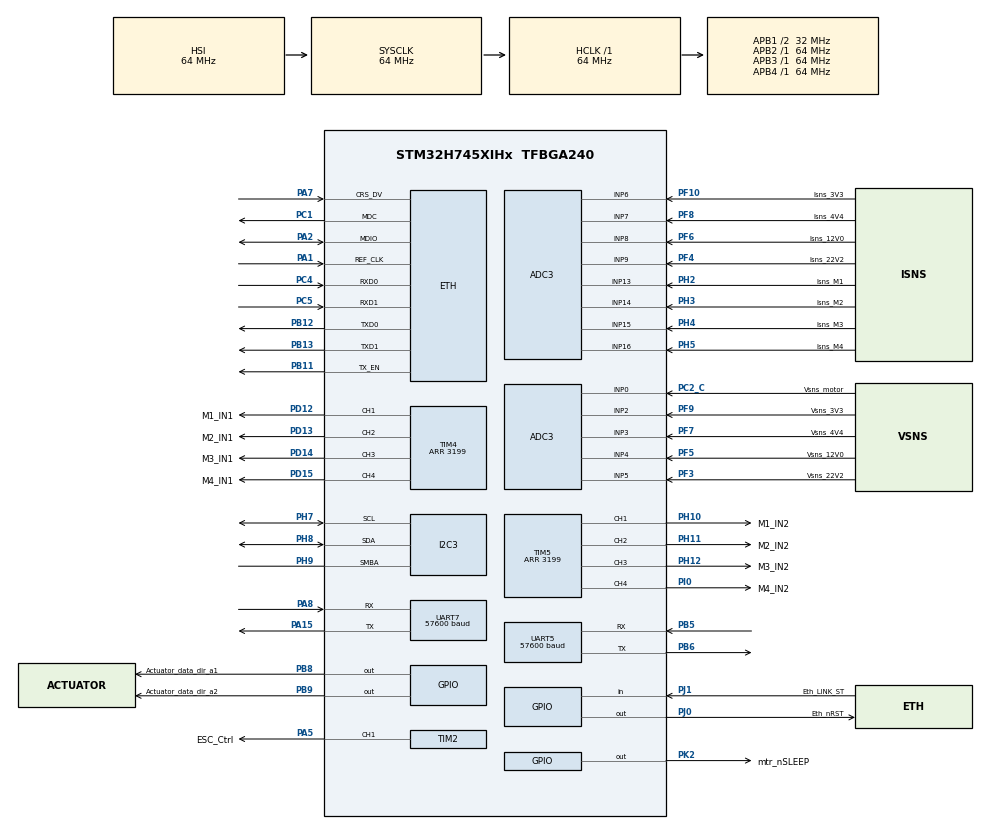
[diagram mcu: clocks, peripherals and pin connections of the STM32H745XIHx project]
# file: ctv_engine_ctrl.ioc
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ADC3.Channel-2\#ChannelRegularConversion=ADC_CHANNEL_0
ADC3.EOCSelection=ADC_EOC_SINGLE_CONV
ADC3.NbrOfConversionFlag=1
ADC3.OffsetNumber-2\#ChannelRegularConversion=ADC_OFFSET_NONE
ADC3.OffsetSignedSaturation-2\#ChannelRegularConversion=DISABLE
ADC3.Overrun=ADC_OVR_DATA_OVERWRITTEN
ADC3.Rank-2\#ChannelRegularConversion=1
ADC3.SamplingTime-2\#ChannelRegularConversion=ADC_SAMPLETIME_64CYCLES_5
CORTEX_M4.AccessPermission-Cortex_Memory_Protection_Unit_Region0_Settings=MPU_REGION_PRIV_RO
CORTEX_M4.BaseAddress-Cortex_Memory_Protection_Unit_Region0_Settings=0x08100000
CORTEX_M4.Enable-Cortex_Memory_Protection_Unit_Region0_Settings=MPU_REGION_ENABLE
CORTEX_M4.MPU_Control=MPU_PRIVILEGED_DEFAULT
CORTEX_M4.Size-Cortex_Memory_Protection_Unit_Region0_Settings=MPU_REGION_SIZE_512KB
CORTEX_M4.TypeExtField-Cortex_Memory_Protection_Unit_Region0_Settings=MPU_TEX_LEVEL1
CORTEX_M7.AccessPermission_S-Cortex_Memory_Protection_Unit_Region1_Settings_S=MPU_REGION_FULL_ACCESS
CORTEX_M7.BaseAddress_S-Cortex_Memory_Protection_Unit_Region1_Settings_S=0x30000000
CORTEX_M7.DisableExec_S-Cortex_Memory_Protection_Unit_Region1_Settings_S=MPU_INSTRUCTION_ACCESS_DISABLE
CORTEX_M7.Enable_S-Cortex_Memory_Protection_Unit_Region1_Settings_S=MPU_REGION_ENABLE
CORTEX_M7.IsCacheable_S-Cortex_Memory_Protection_Unit_Region1_Settings_S=MPU_ACCESS_NOT_CACHEABLE
CORTEX_M7.IsShareable_S-Cortex_Memory_Protection_Unit_Region1_Settings_S=MPU_ACCESS_SHAREABLE
CORTEX_M7.Size_S-Cortex_Memory_Protection_Unit_Region1_Settings_S=MPU_REGION_SIZE_128KB
CORTEX_M7.TypeExtField_S-Cortex_Memory_Protection_Unit_Region1_Settings_S=MPU_TEX_LEVEL1
CORTEX_M7.default_mode_Activation=1
CortexM4.IPs=CORTEX_M4\:I,FATFS_M4\:I,FREERTOS_M4\:I,IWDG2\:I,OPENAMP_M4\:I,PDM2PCM_M4\:I,PWR,RCC,RESMGR_UTILITY,SYS_M4\:I,USB_DEVICE_M4\:I,USB_HOST_M4\:I,VREFBUF,WWDG2\:I,GPIO,DMA,BDMA,MDMA,NVIC2\:I
CortexM7.IPs=CORTEX_M7\:I,FATFS_M7\:I,FREERTOS_M7\:I,IWDG1\:I,OPENAMP_M7\:I,PDM2PCM_M7\:I,PWR\:I,RCC\:I,RESMGR_UTILITY\:I,SYS\:I,USB_DEVICE_M7\:I,USB_HOST_M7\:I,VREFBUF\:I,WWDG1\:I,GPIO\:I,DMA\:I,BDMA\:I,MDMA\:I,NVIC1\:I,ETH\:I,DEBUG\:I,CRC\:I,I2C3\:I,UART7\:I,UART5\:I,ADC3\:I,MEMORYMAP\:I,LWIP\:I,TIM4\:I,TIM5\:I,TIM2\:I
CortexM7.Pins=PB9,PB8,PK2,PJ0,PJ1
ETH.MediaInterface=HAL_ETH_RMII_MODE
I2C3.SMBusPeripheralMode=SMBUS_PERIPHERAL_MODE_SMBUS_HOST
I2C3.Timeout=0x00008186
I2C3.Timing=0x00707CBB
LWIP.BSP.number=1
LWIP.IP_ADDRESS=192.168.001.138
LWIP.LWIP_DHCP=0
LWIP.LWIP_RAM_HEAP_POINTER=0x30010000
LWIP.LWIP_TCP=0
LWIP.NETMASK_ADDRESS=255.255.255.000
LWIP.Version=v2.2.1_Cube
LWIP0.BSP.STBoard=false
LWIP0.BSP.api=BSP_COMPONENT_DRIVER
LWIP0.BSP.component=USER_PHY
LWIP0.BSP.instance=USER_PHY
LWIP0.BSP.name=Driver_PHY
LWIP0.BSP.semaphore=S_USER_PHY
LWIP0.BSP.solution=USER_PHY
Mcu.Family=STM32H7
Mcu.Name=STM32H745XIHx
Mcu.Package=TFBGA240
NVIC1.PriorityGroup=NVIC_PRIORITYGROUP_4
NVIC2.PriorityGroup=NVIC_PRIORITYGROUP_4
PA1.Mode=RMII
PA1.PinAttribute=CortexM7
PA1.Signal=ETH_REF_CLK
PA13\ (JTMS/SWDIO).GPIO_Label=swdio
PA13\ (JTMS/SWDIO).Mode=Trace_Asynchronous_SW
PA13\ (JTMS/SWDIO).PinAttribute=CortexM7
PA13\ (JTMS/SWDIO).Signal=DEBUG_JTMS-SWDIO
PA14\ (JTCK/SWCLK).GPIO_Label=swclk
PA14\ (JTCK/SWCLK).Mode=Trace_Asynchronous_SW
PA14\ (JTCK/SWCLK).PinAttribute=CortexM7
PA14\ (JTCK/SWCLK).Signal=DEBUG_JTCK-SWCLK
PA15\ (JTDI).Mode=Asynchronous
PA15\ (JTDI).PinAttribute=CortexM7
PA15\ (JTDI).Signal=UART7_TX
PA2.Mode=RMII
PA2.PinAttribute=CortexM7
PA2.Signal=ETH_MDIO
PA5.GPIO_Label=ESC_Ctrl
PA5.PinAttribute=CortexM7
PA5.Signal=S_TIM2_CH1_ETR
PA7.Mode=RMII
PA7.PinAttribute=CortexM7
PA7.Signal=ETH_CRS_DV
PA8.Mode=Asynchronous
PA8.PinAttribute=CortexM7
PA8.Signal=UART7_RX
PB11.Mode=RMII
PB11.PinAttribute=CortexM7
PB11.Signal=ETH_TX_EN
PB12.Mode=RMII
PB12.PinAttribute=CortexM7
PB12.Signal=ETH_TXD0
PB13.Mode=RMII
PB13.PinAttribute=CortexM7
PB13.Signal=ETH_TXD1
PB3\ (JTDO/TRACESWO).GPIO_Label=swo
PB3\ (JTDO/TRACESWO).Mode=Trace_Asynchronous_SW
PB3\ (JTDO/TRACESWO).PinAttribute=CortexM7
PB3\ (JTDO/TRACESWO).Signal=DEBUG_JTDO-SWO
PB5.Mode=Asynchronous
PB5.PinAttribute=CortexM7
PB5.Signal=UART5_RX
PB6.Mode=Asynchronous
PB6.PinAttribute=CortexM7
PB6.Signal=UART5_TX
PB8.GPIO_Label=Actuator_data_dir_a1
PB8.PinAttribute=CortexM7
PB8.Signal=GPIO_Output
PB9.GPIO_Label=Actuator_data_dir_a2
PB9.PinAttribute=CortexM7
PB9.Signal=GPIO_Output
PC1.Mode=RMII
PC1.PinAttribute=CortexM7
PC1.Signal=ETH_MDC
PC2_C.GPIO_Label=Vsns_motor
PC2_C.Mode=IN0-Single-Ended
PC2_C.PinAttribute=CortexM7
PC2_C.Signal=ADC3_INP0
PC4.Mode=RMII
PC4.PinAttribute=CortexM7
PC4.Signal=ETH_RXD0
PC5.Mode=RMII
PC5.PinAttribute=CortexM7
PC5.Signal=ETH_RXD1
PD12.GPIO_Label=M1_IN1
PD12.PinAttribute=CortexM7
PD12.Signal=S_TIM4_CH1
PD13.GPIO_Label=M2_IN1
PD13.PinAttribute=CortexM7
PD13.Signal=S_TIM4_CH2
PD14.GPIO_Label=M3_IN1
PD14.PinAttribute=CortexM7
PD14.Signal=S_TIM4_CH3
PD15.GPIO_Label=M4_IN1
PD15.PinAttribute=CortexM7
PD15.Signal=S_TIM4_CH4
PF10.GPIO_Label=Isns_3V3
PF10.Mode=IN6-Single-Ended
PF10.PinAttribute=CortexM7
PF10.Signal=ADC3_INP6
PF3.GPIO_Label=Vsns_22V2
PF3.Mode=IN5-Single-Ended
PF3.PinAttribute=CortexM7
PF3.Signal=ADC3_INP5
PF4.GPIO_Label=Isns_22V2
PF4.Mode=IN9-Single-Ended
PF4.PinAttribute=CortexM7
PF4.Signal=ADC3_INP9
PF5.GPIO_Label=Vsns_12V0
PF5.Mode=IN4-Single-Ended
PF5.PinAttribute=CortexM7
PF5.Signal=ADC3_INP4
PF6.GPIO_Label=Isns_12V0
PF6.Mode=IN8-Single-Ended
PF6.PinAttribute=CortexM7
PF6.Signal=ADC3_INP8
PF7.GPIO_Label=Vsns_4V4
PF7.Mode=IN3-Single-Ended
PF7.PinAttribute=CortexM7
PF7.Signal=ADC3_INP3
PF8.GPIO_Label=Isns_4V4
PF8.Mode=IN7-Single-Ended
PF8.PinAttribute=CortexM7
PF8.Signal=ADC3_INP7
PF9.GPIO_Label=Vsns_3V3
PF9.Mode=IN2-Single-Ended
PF9.PinAttribute=CortexM7
PF9.Signal=ADC3_INP2
PH10.GPIO_Label=M1_IN2
PH10.PinAttribute=CortexM7
PH10.Signal=S_TIM5_CH1
PH11.GPIO_Label=M2_IN2
PH11.PinAttribute=CortexM7
PH11.Signal=S_TIM5_CH2
PH12.GPIO_Label=M3_IN2
PH12.PinAttribute=CortexM7
PH12.Signal=S_TIM5_CH3
PH2.GPIO_Label=Isns_M1
PH2.Mode=IN13-Single-Ended
PH2.PinAttribute=CortexM7
PH2.Signal=ADC3_INP13
PH3.GPIO_Label=Isns_M2
PH3.Mode=IN14-Single-Ended
PH3.PinAttribute=CortexM7
PH3.Signal=ADC3_INP14
PH4.GPIO_Label=Isns_M3
PH4.Mode=IN15-Single-Ended
PH4.PinAttribute=CortexM7
PH4.Signal=ADC3_INP15
PH5.GPIO_Label=Isns_M4
PH5.Mode=IN16-Single-Ended
PH5.PinAttribute=CortexM7
PH5.Signal=ADC3_INP16
PH7.Mode=SMBus-Alert-mode
PH7.PinAttribute=CortexM7
PH7.Signal=I2C3_SCL
PH8.Mode=SMBus-Alert-mode
PH8.PinAttribute=CortexM7
PH8.Signal=I2C3_SDA
PH9.Mode=SMBus-Alert-mode
PH9.PinAttribute=CortexM7
PH9.Signal=I2C3_SMBA
PI0.GPIO_Label=M4_IN2
PI0.PinAttribute=CortexM7
PI0.Signal=S_TIM5_CH4
PJ0.GPIO_Label=Eth_nRST
PJ0.PinAttribute=CortexM7
PJ0.Signal=GPIO_Output
PJ1.GPIO_Label=Eth_LINK_ST
PJ1.PinAttribute=CortexM7
PJ1.Signal=GPIO_Input
PK2.GPIO_Label=mtr_nSLEEP
PK2.PinAttribute=CortexM7
PK2.Signal=GPIO_Output
ProjectManager.HeapSize=M4-0x200,M7-0x200
ProjectManager.StackSize=M4-0x400,M7-0x400
ProjectManager.TargetToolchain=STM32CubeIDE
RCC.ADCFreq_Value=80000000
RCC.APB1Freq_Value=32000000
RCC.APB2Freq_Value=64000000
RCC.APB3Freq_Value=64000000
RCC.APB4Freq_Value=64000000
RCC.CortexFreq_Value=64000000
RCC.D2PPRE1=RCC_APB1_DIV2
RCC.DIVM2=4
RCC.DIVN2=10
RCC.HCLKFreq_Value=64000000
RCC.PLL2FRACN=0
RCC.SYSCLKFreq_VALUE=64000000
RCC.USBFreq_Value=129000000
SH.S_TIM2_CH1_ETR.0=TIM2_CH1,PWM Generation1 CH1
SH.S_TIM4_CH1.0=TIM4_CH1,PWM Generation1 CH1
SH.S_TIM4_CH2.0=TIM4_CH2,PWM Generation2 CH2
SH.S_TIM4_CH3.0=TIM4_CH3,PWM Generation3 CH3
SH.S_TIM4_CH4.0=TIM4_CH4,PWM Generation4 CH4
SH.S_TIM5_CH1.0=TIM5_CH1,PWM Generation1 CH1
SH.S_TIM5_CH2.0=TIM5_CH2,PWM Generation2 CH2
SH.S_TIM5_CH3.0=TIM5_CH3,PWM Generation3 CH3
SH.S_TIM5_CH4.0=TIM5_CH4,PWM Generation4 CH4
SYS.userName=SYS_M7
TIM2.Channel-PWM\ Generation1\ CH1=TIM_CHANNEL_1
TIM4.AutoReloadPreload=TIM_AUTORELOAD_PRELOAD_ENABLE
TIM4.Channel-PWM\ Generation1\ CH1=TIM_CHANNEL_1
TIM4.Channel-PWM\ Generation2\ CH2=TIM_CHANNEL_2
TIM4.Channel-PWM\ Generation3\ CH3=TIM_CHANNEL_3
TIM4.Channel-PWM\ Generation4\ CH4=TIM_CHANNEL_4
TIM4.Period=3199
TIM5.AutoReloadPreload=TIM_AUTORELOAD_PRELOAD_ENABLE
TIM5.Channel-PWM\ Generation1\ CH1=TIM_CHANNEL_1
TIM5.Channel-PWM\ Generation2\ CH2=TIM_CHANNEL_2
TIM5.Channel-PWM\ Generation3\ CH3=TIM_CHANNEL_3
TIM5.Channel-PWM\ Generation4\ CH4=TIM_CHANNEL_4
TIM5.Period=3199
UART5.BaudRate=57600
UART7.BaudRate=57600
VP_CRC_VS_CRC.Mode=CRC_Activate
VP_IWDG1_VS_IWDG.Mode=IWDG_Activate
VP_LWIP_VS_Enabled.Mode=Enabled
VP_MEMORYMAP_VS_MEMORYMAP.Mode=CurAppReg
VP_SYS_M4_VS_Systick.Mode=SysTick
VP_TIM2_VS_ClockSourceINT.Mode=Internal
VP_TIM4_VS_ClockSourceINT.Mode=Internal
VP_TIM5_VS_ClockSourceINT.Mode=Internal
board=custom

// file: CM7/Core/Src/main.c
/* USER CODE BEGIN Header */
/**
  ******************************************************************************
  * @file           : main.c
  * @brief          : Main program body
  ******************************************************************************
  * @attention
  *
  * Copyright (c) 2026 STMicroelectronics.
  * All rights reserved.
  *
  * This software is licensed under terms that can be found in the LICENSE file
  * in the root directory of this software component.
  * If no LICENSE file comes with this software, it is provided AS-IS.
  *
  ******************************************************************************
  */
/* USER CODE END Header */
#include "main.h"
#include "lwip.h"

/* USER CODE BEGIN Includes */
#include "motors.h"
#include "pa12.h"
#include "sensors.h"
/* USER CODE END Includes */

/* USER CODE BEGIN PD */

/* DUAL_CORE_BOOT_SYNC_SEQUENCE: Define for dual core boot synchronization    */
/*                             demonstration code based on hardware semaphore */
/* This define is present in both CM7/CM4 projects                            */
/* To comment when developping/debugging on a single core                     */
//#define DUAL_CORE_BOOT_SYNC_SEQUENCE

#if defined(DUAL_CORE_BOOT_SYNC_SEQUENCE)
#ifndef HSEM_ID_0
#define HSEM_ID_0 (0U) /* HW semaphore 0*/
#endif
#endif /* DUAL_CORE_BOOT_SYNC_SEQUENCE */

/* USER CODE END PD */

ADC_HandleTypeDef hadc3;

CRC_HandleTypeDef hcrc;

SMBUS_HandleTypeDef hsmbus3;

IWDG_HandleTypeDef hiwdg1;

TIM_HandleTypeDef htim2;
TIM_HandleTypeDef htim4;
TIM_HandleTypeDef htim5;

UART_HandleTypeDef huart5;
UART_HandleTypeDef huart7;

/* USER CODE BEGIN PV */
static PA12_Device actuator1;
static PA12_Device actuator2;
static uint16_t a1_position;
static PA12_Result a1_status;

/* Ethernet handle defined in ethernetif.c */
extern ETH_HandleTypeDef heth;

/* PHY debug variables */
volatile uint32_t phy_id1 = 0;
volatile uint32_t phy_id2 = 0;
volatile uint32_t phy_id = 0;

volatile uint32_t phy_basic_status = 0;
volatile uint32_t phy_status1 = 0;

volatile uint32_t phy_link_gpio = 0;

volatile HAL_StatusTypeDef phy_id1_result = HAL_ERROR;
volatile HAL_StatusTypeDef phy_id2_result = HAL_ERROR;
volatile HAL_StatusTypeDef phy_basic_result = HAL_ERROR;
volatile HAL_StatusTypeDef phy_status_result = HAL_ERROR;

volatile uint32_t phy_test_count = 0;

/* USER CODE END PV */

void SystemClock_Config(void);
static void MPU_Config(void);
static void MX_GPIO_Init(void);
static void MX_CRC_Init(void);
static void MX_ADC3_Init(void);
static void MX_I2C3_SMBUS_Init(void);
static void MX_IWDG1_Init(void);
static void MX_UART5_Init(void);
static void MX_UART7_Init(void);
static void MX_TIM2_Init(void);
static void MX_TIM4_Init(void);
static void MX_TIM5_Init(void);

/* USER CODE BEGIN 0 */

/**
 * @brief Ethernet MSP Initialization
 * @note  STM32H745 Ethernet MAC connected to ADIN1200 via RMII
 */
void HAL_ETH_MspInit(ETH_HandleTypeDef *heth)
{
    GPIO_InitTypeDef GPIO_InitStruct = {0};

    if (heth->Instance == ETH)
    {
        /* 1. Enable Ethernet peripheral clocks */
        __HAL_RCC_ETH1MAC_CLK_ENABLE();
        __HAL_RCC_ETH1TX_CLK_ENABLE();
        __HAL_RCC_ETH1RX_CLK_ENABLE();

        /* 2. Enable GPIO peripheral clocks */
        __HAL_RCC_GPIOA_CLK_ENABLE();
        __HAL_RCC_GPIOB_CLK_ENABLE();
        __HAL_RCC_GPIOC_CLK_ENABLE();

        /* 3. Configure RMII GPIO alternate functions */
        GPIO_InitStruct.Mode = GPIO_MODE_AF_PP;
        GPIO_InitStruct.Pull = GPIO_NOPULL;
        GPIO_InitStruct.Speed = GPIO_SPEED_FREQ_VERY_HIGH;
        GPIO_InitStruct.Alternate = GPIO_AF11_ETH;

        /* GPIOA:
         * PA1 = ETH_REF_CLK
         * PA2 = ETH_MDIO
         * PA7 = ETH_CRS_DV
         */
        GPIO_InitStruct.Pin =
            GPIO_PIN_1 | GPIO_PIN_2 | GPIO_PIN_7;
        HAL_GPIO_Init(GPIOA, &GPIO_InitStruct);

        /* GPIOB:
         * PB11 = ETH_TX_EN
         * PB12 = ETH_TXD0
         * PB13 = ETH_TXD1
         */
        GPIO_InitStruct.Pin =
            GPIO_PIN_11 | GPIO_PIN_12 | GPIO_PIN_13;
        HAL_GPIO_Init(GPIOB, &GPIO_InitStruct);

        /* GPIOC:
         * PC1 = ETH_MDC
         * PC4 = ETH_RXD0
         * PC5 = ETH_RXD1
         */
        GPIO_InitStruct.Pin =
            GPIO_PIN_1 | GPIO_PIN_4 | GPIO_PIN_5;
        HAL_GPIO_Init(GPIOC, &GPIO_InitStruct);
    }
}

static void PHY_HardwareTest(void)
{
    uint32_t value = 0;

    /* Read PHY Identifier 1: Register 0x02 */
    phy_id1_result = HAL_ETH_ReadPHYRegister(
        &heth, 0, 0x02, &value
    );
    if (phy_id1_result == HAL_OK)
        phy_id1 = value & 0xFFFFU;

    /* Read PHY Identifier 2: Register 0x03 */
    phy_id2_result = HAL_ETH_ReadPHYRegister(
        &heth, 0, 0x03, &value
    );
    if (phy_id2_result == HAL_OK)
        phy_id2 = value & 0xFFFFU;

    /* Combine PHY identifiers */
    phy_id = (phy_id1 << 16) | phy_id2;

    /* Basic Mode Status Register: 0x01 */
    phy_basic_result = HAL_ETH_ReadPHYRegister(
        &heth, 0, 0x01, &value
    );
    if (phy_basic_result == HAL_OK)
        phy_basic_status = value & 0xFFFFU;

    /* ADIN1200 PHY_STATUS_1: Register 0x1A */
    phy_status_result = HAL_ETH_ReadPHYRegister(
        &heth, 0, 0x1A, &value
    );
    if (phy_status_result == HAL_OK)
        phy_status1 = value & 0xFFFFU;

    /* Read your board's physical LINK_ST pin */
    phy_link_gpio = HAL_GPIO_ReadPin(
        Eth_LINK_ST_GPIO_Port,
        Eth_LINK_ST_Pin
    );

    phy_test_count++;
}

static void WD_Delay(uint32_t ms)
{
  while (ms)
  {
    uint32_t s = (ms > 100) ? 100 : ms;
    HAL_IWDG_Refresh(&hiwdg1);
    HAL_Delay(s);
    ms -= s;
  }
  HAL_IWDG_Refresh(&hiwdg1);
}

/* USER CODE END 0 */

int main(void)
{

/* USER CODE BEGIN Boot_Mode_Sequence_0 */
#if defined(DUAL_CORE_BOOT_SYNC_SEQUENCE)
  int32_t timeout;
#endif /* DUAL_CORE_BOOT_SYNC_SEQUENCE */
/* USER CODE END Boot_Mode_Sequence_0 */

  /* MPU Configuration--------------------------------------------------------*/
  MPU_Config();

/* USER CODE BEGIN Boot_Mode_Sequence_1 */
#if defined(DUAL_CORE_BOOT_SYNC_SEQUENCE)
  /* Wait until CPU2 boots and enters in stop mode or timeout*/
  timeout = 0xFFFF;
  while((__HAL_RCC_GET_FLAG(RCC_FLAG_D2CKRDY) != RESET) && (timeout-- > 0));
  if ( timeout < 0 )
  {
  Error_Handler();
  }
#endif /* DUAL_CORE_BOOT_SYNC_SEQUENCE */
/* USER CODE END Boot_Mode_Sequence_1 */
  /* MCU Configuration--------------------------------------------------------*/

  /* Reset of all peripherals, Initializes the Flash interface and the Systick. */
  HAL_Init();

  /* Configure the system clock */
  SystemClock_Config();
/* USER CODE BEGIN Boot_Mode_Sequence_2 */
#if defined(DUAL_CORE_BOOT_SYNC_SEQUENCE)
/* When system initialization is finished, Cortex-M7 will release Cortex-M4 by means of
HSEM notification */
/*HW semaphore Clock enable*/
__HAL_RCC_HSEM_CLK_ENABLE();
/*Take HSEM */
HAL_HSEM_FastTake(HSEM_ID_0);
/*Release HSEM in order to notify the CPU2(CM4)*/
HAL_HSEM_Release(HSEM_ID_0,0);
/* wait until CPU2 wakes up from stop mode */
timeout = 0xFFFF;
while((__HAL_RCC_GET_FLAG(RCC_FLAG_D2CKRDY) == RESET) && (timeout-- > 0));
if ( timeout < 0 )
{
Error_Handler();
}
#endif /* DUAL_CORE_BOOT_SYNC_SEQUENCE */
/* USER CODE END Boot_Mode_Sequence_2 */

  /* Initialize all configured peripherals */
  MX_GPIO_Init();
  MX_CRC_Init();
  MX_ADC3_Init();
  MX_I2C3_SMBUS_Init();
  MX_IWDG1_Init();
  MX_UART5_Init();
  MX_UART7_Init();
  MX_TIM2_Init();
  MX_LWIP_Init();
  MX_TIM4_Init();
  MX_TIM5_Init();
  /* USER CODE BEGIN 2 */
  PHY_HardwareTest();

  HAL_IWDG_Refresh(&hiwdg1);
  if (Motors_Init() != HAL_OK) {
	  Error_Handler(); // Starts PWM at zero; nSLEEP remains LOW
  }
  PA12_Init(&actuator1, &huart7, Actuator_data_dir_a1_GPIO_Port, Actuator_data_dir_a1_Pin, 0U);
  PA12_Init(&actuator2, &huart5, Actuator_data_dir_a2_GPIO_Port, Actuator_data_dir_a2_Pin, 0U);

  if (Sensors_ADC_Init() != HAL_OK)
  {
      Error_Handler();
  }
  /* USER CODE END 2 */

  /* Infinite loop */
  while (1)
  {

    /* USER CODE BEGIN 3 */
	  MX_LWIP_Process();

	  HAL_IWDG_Refresh(&hiwdg1);          // watchdog resets the board in about 0.5 s without this

	  /* Sample PHY registers every 250 ms */
	  static uint32_t last_phy_test_ms = 0;
	  uint32_t now_ms = HAL_GetTick();

	  if ((uint32_t)(now_ms - last_phy_test_ms) >= 250U)
	  {
	      last_phy_test_ms = now_ms;
	      PHY_HardwareTest();
	  }

	  HAL_Delay(1);
  /* USER CODE END 3 */
  }
}

void SystemClock_Config(void)
{
  RCC_OscInitTypeDef RCC_OscInitStruct = {0};
  RCC_ClkInitTypeDef RCC_ClkInitStruct = {0};

  /** Supply configuration update enable
  */
  HAL_PWREx_ConfigSupply(PWR_DIRECT_SMPS_SUPPLY);

  /** Configure the main internal regulator output voltage
  */
  __HAL_PWR_VOLTAGESCALING_CONFIG(PWR_REGULATOR_VOLTAGE_SCALE3);

  while(!__HAL_PWR_GET_FLAG(PWR_FLAG_VOSRDY)) {}

  /** Macro to configure the PLL clock source
  */
  __HAL_RCC_PLL_PLLSOURCE_CONFIG(RCC_PLLSOURCE_HSI);

  /** Initializes the RCC Oscillators according to the specified parameters
  * in the RCC_OscInitTypeDef structure.
  */
  RCC_OscInitStruct.OscillatorType = RCC_OSCILLATORTYPE_HSI|RCC_OSCILLATORTYPE_LSI;
  RCC_OscInitStruct.HSIState = RCC_HSI_DIV1;
  RCC_OscInitStruct.HSICalibrationValue = RCC_HSICALIBRATION_DEFAULT;
  RCC_OscInitStruct.LSIState = RCC_LSI_ON;
  RCC_OscInitStruct.PLL.PLLState = RCC_PLL_NONE;
  if (HAL_RCC_OscConfig(&RCC_OscInitStruct) != HAL_OK)
  {
    Error_Handler();
  }

  /** Initializes the CPU, AHB and APB buses clocks
  */
  RCC_ClkInitStruct.ClockType = RCC_CLOCKTYPE_HCLK|RCC_CLOCKTYPE_SYSCLK
                              |RCC_CLOCKTYPE_PCLK1|RCC_CLOCKTYPE_PCLK2
                              |RCC_CLOCKTYPE_D3PCLK1|RCC_CLOCKTYPE_D1PCLK1;
  RCC_ClkInitStruct.SYSCLKSource = RCC_SYSCLKSOURCE_HSI;
  RCC_ClkInitStruct.SYSCLKDivider = RCC_SYSCLK_DIV1;
  RCC_ClkInitStruct.AHBCLKDivider = RCC_HCLK_DIV1;
  RCC_ClkInitStruct.APB3CLKDivider = RCC_APB3_DIV1;
  RCC_ClkInitStruct.APB1CLKDivider = RCC_APB1_DIV2;
  RCC_ClkInitStruct.APB2CLKDivider = RCC_APB2_DIV1;
  RCC_ClkInitStruct.APB4CLKDivider = RCC_APB4_DIV1;

  if (HAL_RCC_ClockConfig(&RCC_ClkInitStruct, FLASH_LATENCY_1) != HAL_OK)
  {
    Error_Handler();
  }
}

static void MX_ADC3_Init(void)
{

  ADC_ChannelConfTypeDef sConfig = {0};

  /** Common config
  */
  hadc3.Instance = ADC3;
  hadc3.Init.ClockPrescaler = ADC_CLOCK_ASYNC_DIV2;
  hadc3.Init.ScanConvMode = ADC_SCAN_DISABLE;
  hadc3.Init.EOCSelection = ADC_EOC_SINGLE_CONV;
  hadc3.Init.LowPowerAutoWait = DISABLE;
  hadc3.Init.ContinuousConvMode = DISABLE;
  hadc3.Init.NbrOfConversion = 1;
  hadc3.Init.DiscontinuousConvMode = DISABLE;
  hadc3.Init.ExternalTrigConv = ADC_SOFTWARE_START;
  hadc3.Init.ExternalTrigConvEdge = ADC_EXTERNALTRIGCONVEDGE_NONE;
  hadc3.Init.ConversionDataManagement = ADC_CONVERSIONDATA_DR;
  hadc3.Init.Overrun = ADC_OVR_DATA_OVERWRITTEN;
  hadc3.Init.LeftBitShift = ADC_LEFTBITSHIFT_NONE;
  hadc3.Init.OversamplingMode = DISABLE;
  hadc3.Init.Oversampling.Ratio = 1;
  if (HAL_ADC_Init(&hadc3) != HAL_OK)
  {
    Error_Handler();
  }
  hadc3.Init.Resolution = ADC_RESOLUTION_16B;
  if (HAL_ADC_Init(&hadc3) != HAL_OK)
  {
    Error_Handler();
  }

  /** Configure Regular Channel
  */
  sConfig.Channel = ADC_CHANNEL_0;
  sConfig.Rank = ADC_REGULAR_RANK_1;
  sConfig.SamplingTime = ADC_SAMPLETIME_64CYCLES_5;
  sConfig.SingleDiff = ADC_SINGLE_ENDED;
  sConfig.OffsetNumber = ADC_OFFSET_NONE;
  sConfig.Offset = 0;
  sConfig.OffsetSignedSaturation = DISABLE;
  if (HAL_ADC_ConfigChannel(&hadc3, &sConfig) != HAL_OK)
  {
    Error_Handler();
  }

}

static void MX_CRC_Init(void)
{

  hcrc.Instance = CRC;
  hcrc.Init.DefaultPolynomialUse = DEFAULT_POLYNOMIAL_ENABLE;
  hcrc.Init.DefaultInitValueUse = DEFAULT_INIT_VALUE_ENABLE;
  hcrc.Init.InputDataInversionMode = CRC_INPUTDATA_INVERSION_NONE;
  hcrc.Init.OutputDataInversionMode = CRC_OUTPUTDATA_INVERSION_DISABLE;
  hcrc.InputDataFormat = CRC_INPUTDATA_FORMAT_BYTES;
  if (HAL_CRC_Init(&hcrc) != HAL_OK)
  {
    Error_Handler();
  }

}

static void MX_I2C3_SMBUS_Init(void)
{

  hsmbus3.Instance = I2C3;
  hsmbus3.Init.Timing = 0x00707CBB;
  hsmbus3.Init.AnalogFilter = SMBUS_ANALOGFILTER_ENABLE;
  hsmbus3.Init.OwnAddress1 = 2;
  hsmbus3.Init.AddressingMode = SMBUS_ADDRESSINGMODE_7BIT;
  hsmbus3.Init.DualAddressMode = SMBUS_DUALADDRESS_DISABLE;
  hsmbus3.Init.OwnAddress2 = 0;
  hsmbus3.Init.OwnAddress2Masks = SMBUS_OA2_NOMASK;
  hsmbus3.Init.GeneralCallMode = SMBUS_GENERALCALL_DISABLE;
  hsmbus3.Init.NoStretchMode = SMBUS_NOSTRETCH_DISABLE;
  hsmbus3.Init.PacketErrorCheckMode = SMBUS_PEC_DISABLE;
  hsmbus3.Init.PeripheralMode = SMBUS_PERIPHERAL_MODE_SMBUS_HOST;
  hsmbus3.Init.SMBusTimeout = 0x00008186;
  if (HAL_SMBUS_Init(&hsmbus3) != HAL_OK)
  {
    Error_Handler();
  }

  /** configuration Alert Mode
  */
  if (HAL_SMBUS_EnableAlert_IT(&hsmbus3) != HAL_OK)
  {
    Error_Handler();
  }

  /** Configure Digital filter
  */
  if (HAL_SMBUS_ConfigDigitalFilter(&hsmbus3, 0) != HAL_OK)
  {
    Error_Handler();
  }

}

static void MX_IWDG1_Init(void)
{

  hiwdg1.Instance = IWDG1;
  hiwdg1.Init.Prescaler = IWDG_PRESCALER_4;
  hiwdg1.Init.Window = 4095;
  hiwdg1.Init.Reload = 4095;
  if (HAL_IWDG_Init(&hiwdg1) != HAL_OK)
  {
    Error_Handler();
  }

}

static void MX_TIM2_Init(void)
{

  TIM_ClockConfigTypeDef sClockSourceConfig = {0};
  TIM_MasterConfigTypeDef sMasterConfig = {0};
  TIM_OC_InitTypeDef sConfigOC = {0};

  htim2.Instance = TIM2;
  htim2.Init.Prescaler = 0;
  htim2.Init.CounterMode = TIM_COUNTERMODE_UP;
  htim2.Init.Period = 4294967295;
  htim2.Init.ClockDivision = TIM_CLOCKDIVISION_DIV1;
  htim2.Init.AutoReloadPreload = TIM_AUTORELOAD_PRELOAD_DISABLE;
  if (HAL_TIM_Base_Init(&htim2) != HAL_OK)
  {
    Error_Handler();
  }
  sClockSourceConfig.ClockSource = TIM_CLOCKSOURCE_INTERNAL;
  if (HAL_TIM_ConfigClockSource(&htim2, &sClockSourceConfig) != HAL_OK)
  {
    Error_Handler();
  }
  if (HAL_TIM_PWM_Init(&htim2) != HAL_OK)
  {
    Error_Handler();
  }
  sMasterConfig.MasterOutputTrigger = TIM_TRGO_RESET;
  sMasterConfig.MasterSlaveMode = TIM_MASTERSLAVEMODE_DISABLE;
  if (HAL_TIMEx_MasterConfigSynchronization(&htim2, &sMasterConfig) != HAL_OK)
  {
    Error_Handler();
  }
  sConfigOC.OCMode = TIM_OCMODE_PWM1;
  sConfigOC.Pulse = 0;
  sConfigOC.OCPolarity = TIM_OCPOLARITY_HIGH;
  sConfigOC.OCFastMode = TIM_OCFAST_DISABLE;
  if (HAL_TIM_PWM_ConfigChannel(&htim2, &sConfigOC, TIM_CHANNEL_1) != HAL_OK)
  {
    Error_Handler();
  }
  HAL_TIM_MspPostInit(&htim2);

}

static void MX_TIM4_Init(void)
{

  TIM_ClockConfigTypeDef sClockSourceConfig = {0};
  TIM_MasterConfigTypeDef sMasterConfig = {0};
  TIM_OC_InitTypeDef sConfigOC = {0};

  htim4.Instance = TIM4;
  htim4.Init.Prescaler = 0;
  htim4.Init.CounterMode = TIM_COUNTERMODE_UP;
  htim4.Init.Period = 3199;
  htim4.Init.ClockDivision = TIM_CLOCKDIVISION_DIV1;
  htim4.Init.AutoReloadPreload = TIM_AUTORELOAD_PRELOAD_ENABLE;
  if (HAL_TIM_Base_Init(&htim4) != HAL_OK)
  {
    Error_Handler();
  }
  sClockSourceConfig.ClockSource = TIM_CLOCKSOURCE_INTERNAL;
  if (HAL_TIM_ConfigClockSource(&htim4, &sClockSourceConfig) != HAL_OK)
  {
    Error_Handler();
  }
  if (HAL_TIM_PWM_Init(&htim4) != HAL_OK)
  {
    Error_Handler();
  }
  sMasterConfig.MasterOutputTrigger = TIM_TRGO_RESET;
  sMasterConfig.MasterSlaveMode = TIM_MASTERSLAVEMODE_DISABLE;
  if (HAL_TIMEx_MasterConfigSynchronization(&htim4, &sMasterConfig) != HAL_OK)
  {
    Error_Handler();
  }
  sConfigOC.OCMode = TIM_OCMODE_PWM1;
  sConfigOC.Pulse = 0;
  sConfigOC.OCPolarity = TIM_OCPOLARITY_HIGH;
  sConfigOC.OCFastMode = TIM_OCFAST_DISABLE;
  if (HAL_TIM_PWM_ConfigChannel(&htim4, &sConfigOC, TIM_CHANNEL_1) != HAL_OK)
  {
    Error_Handler();
  }
  if (HAL_TIM_PWM_ConfigChannel(&htim4, &sConfigOC, TIM_CHANNEL_2) != HAL_OK)
  {
    Error_Handler();
  }
  if (HAL_TIM_PWM_ConfigChannel(&htim4, &sConfigOC, TIM_CHANNEL_3) != HAL_OK)
  {
    Error_Handler();
  }
  if (HAL_TIM_PWM_ConfigChannel(&htim4, &sConfigOC, TIM_CHANNEL_4) != HAL_OK)
  {
    Error_Handler();
  }
  HAL_TIM_MspPostInit(&htim4);

}

static void MX_TIM5_Init(void)
{

  TIM_ClockConfigTypeDef sClockSourceConfig = {0};
  TIM_MasterConfigTypeDef sMasterConfig = {0};
  TIM_OC_InitTypeDef sConfigOC = {0};

  htim5.Instance = TIM5;
  htim5.Init.Prescaler = 0;
  htim5.Init.CounterMode = TIM_COUNTERMODE_UP;
  htim5.Init.Period = 3199;
  htim5.Init.ClockDivision = TIM_CLOCKDIVISION_DIV1;
  htim5.Init.AutoReloadPreload = TIM_AUTORELOAD_PRELOAD_ENABLE;
  if (HAL_TIM_Base_Init(&htim5) != HAL_OK)
  {
    Error_Handler();
  }
  sClockSourceConfig.ClockSource = TIM_CLOCKSOURCE_INTERNAL;
  if (HAL_TIM_ConfigClockSource(&htim5, &sClockSourceConfig) != HAL_OK)
  {
    Error_Handler();
  }
  if (HAL_TIM_PWM_Init(&htim5) != HAL_OK)
  {
    Error_Handler();
  }
  sMasterConfig.MasterOutputTrigger = TIM_TRGO_RESET;
  sMasterConfig.MasterSlaveMode = TIM_MASTERSLAVEMODE_DISABLE;
  if (HAL_TIMEx_MasterConfigSynchronization(&htim5, &sMasterConfig) != HAL_OK)
  {
    Error_Handler();
  }
  sConfigOC.OCMode = TIM_OCMODE_PWM1;
  sConfigOC.Pulse = 0;
  sConfigOC.OCPolarity = TIM_OCPOLARITY_HIGH;
  sConfigOC.OCFastMode = TIM_OCFAST_DISABLE;
  if (HAL_TIM_PWM_ConfigChannel(&htim5, &sConfigOC, TIM_CHANNEL_1) != HAL_OK)
  {
    Error_Handler();
  }
  if (HAL_TIM_PWM_ConfigChannel(&htim5, &sConfigOC, TIM_CHANNEL_2) != HAL_OK)
  {
    Error_Handler();
  }
  if (HAL_TIM_PWM_ConfigChannel(&htim5, &sConfigOC, TIM_CHANNEL_3) != HAL_OK)
  {
    Error_Handler();
  }
  if (HAL_TIM_PWM_ConfigChannel(&htim5, &sConfigOC, TIM_CHANNEL_4) != HAL_OK)
  {
    Error_Handler();
  }
  HAL_TIM_MspPostInit(&htim5);

}

static void MX_UART5_Init(void)
{

  huart5.Instance = UART5;
  huart5.Init.BaudRate = 57600;
  huart5.Init.WordLength = UART_WORDLENGTH_8B;
  huart5.Init.StopBits = UART_STOPBITS_1;
  huart5.Init.Parity = UART_PARITY_NONE;
  huart5.Init.Mode = UART_MODE_TX_RX;
  huart5.Init.HwFlowCtl = UART_HWCONTROL_NONE;
  huart5.Init.OverSampling = UART_OVERSAMPLING_16;
  huart5.Init.OneBitSampling = UART_ONE_BIT_SAMPLE_DISABLE;
  huart5.Init.ClockPrescaler = UART_PRESCALER_DIV1;
  huart5.AdvancedInit.AdvFeatureInit = UART_ADVFEATURE_NO_INIT;
  if (HAL_UART_Init(&huart5) != HAL_OK)
  {
    Error_Handler();
  }
  if (HAL_UARTEx_SetTxFifoThreshold(&huart5, UART_TXFIFO_THRESHOLD_1_8) != HAL_OK)
  {
    Error_Handler();
  }
  if (HAL_UARTEx_SetRxFifoThreshold(&huart5, UART_RXFIFO_THRESHOLD_1_8) != HAL_OK)
  {
    Error_Handler();
  }
  if (HAL_UARTEx_DisableFifoMode(&huart5) != HAL_OK)
  {
    Error_Handler();
  }

}

static void MX_UART7_Init(void)
{

  huart7.Instance = UART7;
  huart7.Init.BaudRate = 57600;
  huart7.Init.WordLength = UART_WORDLENGTH_8B;
  huart7.Init.StopBits = UART_STOPBITS_1;
  huart7.Init.Parity = UART_PARITY_NONE;
  huart7.Init.Mode = UART_MODE_TX_RX;
  huart7.Init.HwFlowCtl = UART_HWCONTROL_NONE;
  huart7.Init.OverSampling = UART_OVERSAMPLING_16;
  huart7.Init.OneBitSampling = UART_ONE_BIT_SAMPLE_DISABLE;
  huart7.Init.ClockPrescaler = UART_PRESCALER_DIV1;
  huart7.AdvancedInit.AdvFeatureInit = UART_ADVFEATURE_NO_INIT;
  if (HAL_UART_Init(&huart7) != HAL_OK)
  {
    Error_Handler();
  }
  if (HAL_UARTEx_SetTxFifoThreshold(&huart7, UART_TXFIFO_THRESHOLD_1_8) != HAL_OK)
  {
    Error_Handler();
  }
  if (HAL_UARTEx_SetRxFifoThreshold(&huart7, UART_RXFIFO_THRESHOLD_1_8) != HAL_OK)
  {
    Error_Handler();
  }
  if (HAL_UARTEx_DisableFifoMode(&huart7) != HAL_OK)
  {
    Error_Handler();
  }

}

static void MX_GPIO_Init(void)
{
  GPIO_InitTypeDef GPIO_InitStruct = {0};

  /* GPIO Ports Clock Enable */
  __HAL_RCC_GPIOI_CLK_ENABLE();
  __HAL_RCC_GPIOB_CLK_ENABLE();
  __HAL_RCC_GPIOK_CLK_ENABLE();
  __HAL_RCC_GPIOG_CLK_ENABLE();
  __HAL_RCC_GPIOD_CLK_ENABLE();
  __HAL_RCC_GPIOC_CLK_ENABLE();
  __HAL_RCC_GPIOA_CLK_ENABLE();
  __HAL_RCC_GPIOE_CLK_ENABLE();
  __HAL_RCC_GPIOJ_CLK_ENABLE();
  __HAL_RCC_GPIOH_CLK_ENABLE();
  __HAL_RCC_GPIOF_CLK_ENABLE();

  /*Configure GPIO pin Output Level */
  HAL_GPIO_WritePin(GPIOB, Actuator_data_dir_a2_Pin|Actuator_data_dir_a1_Pin, GPIO_PIN_RESET);

  /*Configure GPIO pin Output Level */
  HAL_GPIO_WritePin(mtr_nSLEEP_GPIO_Port, mtr_nSLEEP_Pin, GPIO_PIN_RESET);

  /*Configure GPIO pin Output Level */
  HAL_GPIO_WritePin(Eth_nRST_GPIO_Port, Eth_nRST_Pin, GPIO_PIN_RESET);

  /*Configure GPIO pins : PI6 PI5 PI4 PI1
                           PI7 PI2 PI3 PI9
                           PI8 PI10 PI11 PI12
                           PI13 PI14 PI15 */
  GPIO_InitStruct.Pin = GPIO_PIN_6|GPIO_PIN_5|GPIO_PIN_4|GPIO_PIN_1
                          |GPIO_PIN_7|GPIO_PIN_2|GPIO_PIN_3|GPIO_PIN_9
                          |GPIO_PIN_8|GPIO_PIN_10|GPIO_PIN_11|GPIO_PIN_12
                          |GPIO_PIN_13|GPIO_PIN_14|GPIO_PIN_15;
  GPIO_InitStruct.Mode = GPIO_MODE_ANALOG;
  GPIO_InitStruct.Pull = GPIO_NOPULL;
  HAL_GPIO_Init(GPIOI, &GPIO_InitStruct);

  /*Configure GPIO pins : PK5 PK4 PK6 PK3
                           PK7 PK0 PK1 */
  GPIO_InitStruct.Pin = GPIO_PIN_5|GPIO_PIN_4|GPIO_PIN_6|GPIO_PIN_3
                          |GPIO_PIN_7|GPIO_PIN_0|GPIO_PIN_1;
  GPIO_InitStruct.Mode = GPIO_MODE_ANALOG;
  GPIO_InitStruct.Pull = GPIO_NOPULL;
  HAL_GPIO_Init(GPIOK, &GPIO_InitStruct);

  /*Configure GPIO pins : PG10 PG9 PG11 PG12
                           PG15 PG14 PG13 PG8
                           PG7 PG5 PG6 PG4
                           PG3 PG2 PG0 PG1 */
  GPIO_InitStruct.Pin = GPIO_PIN_10|GPIO_PIN_9|GPIO_PIN_11|GPIO_PIN_12
                          |GPIO_PIN_15|GPIO_PIN_14|GPIO_PIN_13|GPIO_PIN_8
                          |GPIO_PIN_7|GPIO_PIN_5|GPIO_PIN_6|GPIO_PIN_4
                          |GPIO_PIN_3|GPIO_PIN_2|GPIO_PIN_0|GPIO_PIN_1;
  GPIO_InitStruct.Mode = GPIO_MODE_ANALOG;
  GPIO_InitStruct.Pull = GPIO_NOPULL;
  HAL_GPIO_Init(GPIOG, &GPIO_InitStruct);

  /*Configure GPIO pins : PD5 PD4 PD6 PD3
                           PD7 PD2 PD0 PD1
                           PD11 PD10 PD9 PD8 */
  GPIO_InitStruct.Pin = GPIO_PIN_5|GPIO_PIN_4|GPIO_PIN_6|GPIO_PIN_3
                          |GPIO_PIN_7|GPIO_PIN_2|GPIO_PIN_0|GPIO_PIN_1
                          |GPIO_PIN_11|GPIO_PIN_10|GPIO_PIN_9|GPIO_PIN_8;
  GPIO_InitStruct.Mode = GPIO_MODE_ANALOG;
  GPIO_InitStruct.Pull = GPIO_NOPULL;
  HAL_GPIO_Init(GPIOD, &GPIO_InitStruct);

  /*Configure GPIO pins : PC10 PC11 PC15 PC14
                           PC12 PC13 PC8 PC9
                           PC7 PC6 PC0 PC2
                           PC3 */
  GPIO_InitStruct.Pin = GPIO_PIN_10|GPIO_PIN_11|GPIO_PIN_15|GPIO_PIN_14
                          |GPIO_PIN_12|GPIO_PIN_13|GPIO_PIN_8|GPIO_PIN_9
                          |GPIO_PIN_7|GPIO_PIN_6|GPIO_PIN_0|GPIO_PIN_2
                          |GPIO_PIN_3;
  GPIO_InitStruct.Mode = GPIO_MODE_ANALOG;
  GPIO_InitStruct.Pull = GPIO_NOPULL;
  HAL_GPIO_Init(GPIOC, &GPIO_InitStruct);

  /*Configure GPIO pins : PE1 PE2 PE0 PE5
                           PE4 PE3 PE6 PE10
                           PE9 PE11 PE12 PE15
                           PE8 PE13 PE7 PE14 */
  GPIO_InitStruct.Pin = GPIO_PIN_1|GPIO_PIN_2|GPIO_PIN_0|GPIO_PIN_5
                          |GPIO_PIN_4|GPIO_PIN_3|GPIO_PIN_6|GPIO_PIN_10
                          |GPIO_PIN_9|GPIO_PIN_11|GPIO_PIN_12|GPIO_PIN_15
                          |GPIO_PIN_8|GPIO_PIN_13|GPIO_PIN_7|GPIO_PIN_14;
  GPIO_InitStruct.Mode = GPIO_MODE_ANALOG;
  GPIO_InitStruct.Pull = GPIO_NOPULL;
  HAL_GPIO_Init(GPIOE, &GPIO_InitStruct);

  /*Configure GPIO pins : PB4 PB7 PB10 PB2
                           PB1 PB15 PB0 PB14 */
  GPIO_InitStruct.Pin = GPIO_PIN_4|GPIO_PIN_7|GPIO_PIN_10|GPIO_PIN_2
                          |GPIO_PIN_1|GPIO_PIN_15|GPIO_PIN_0|GPIO_PIN_14;
  GPIO_InitStruct.Mode = GPIO_MODE_ANALOG;
  GPIO_InitStruct.Pull = GPIO_NOPULL;
  HAL_GPIO_Init(GPIOB, &GPIO_InitStruct);

  /*Configure GPIO pins : PJ15 PJ14 PJ12 PJ13
                           PJ11 PJ10 PJ9 PJ8
                           PJ7 PJ6 PJ5 PJ2
                           PJ3 PJ4 */
  GPIO_InitStruct.Pin = GPIO_PIN_15|GPIO_PIN_14|GPIO_PIN_12|GPIO_PIN_13
                          |GPIO_PIN_11|GPIO_PIN_10|GPIO_PIN_9|GPIO_PIN_8
                          |GPIO_PIN_7|GPIO_PIN_6|GPIO_PIN_5|GPIO_PIN_2
                          |GPIO_PIN_3|GPIO_PIN_4;
  GPIO_InitStruct.Mode = GPIO_MODE_ANALOG;
  GPIO_InitStruct.Pull = GPIO_NOPULL;
  HAL_GPIO_Init(GPIOJ, &GPIO_InitStruct);

  /*Configure GPIO pins : PH15 PH14 PH13 PH1
                           PH0 PH6 */
  GPIO_InitStruct.Pin = GPIO_PIN_15|GPIO_PIN_14|GPIO_PIN_13|GPIO_PIN_1
                          |GPIO_PIN_0|GPIO_PIN_6;
  GPIO_InitStruct.Mode = GPIO_MODE_ANALOG;
  GPIO_InitStruct.Pull = GPIO_NOPULL;
  HAL_GPIO_Init(GPIOH, &GPIO_InitStruct);

  /*Configure GPIO pins : Actuator_data_dir_a2_Pin Actuator_data_dir_a1_Pin */
  GPIO_InitStruct.Pin = Actuator_data_dir_a2_Pin|Actuator_data_dir_a1_Pin;
  GPIO_InitStruct.Mode = GPIO_MODE_OUTPUT_PP;
  GPIO_InitStruct.Pull = GPIO_NOPULL;
  GPIO_InitStruct.Speed = GPIO_SPEED_FREQ_LOW;
  HAL_GPIO_Init(GPIOB, &GPIO_InitStruct);

  /*Configure GPIO pins : PA10 PA9 PA12 PA11
                           PA0 PA6 PA3 PA4 */
  GPIO_InitStruct.Pin = GPIO_PIN_10|GPIO_PIN_9|GPIO_PIN_12|GPIO_PIN_11
                          |GPIO_PIN_0|GPIO_PIN_6|GPIO_PIN_3|GPIO_PIN_4;
  GPIO_InitStruct.Mode = GPIO_MODE_ANALOG;
  GPIO_InitStruct.Pull = GPIO_NOPULL;
  HAL_GPIO_Init(GPIOA, &GPIO_InitStruct);

  /*Configure GPIO pins : PF2 PF1 PF0 PF13
                           PF14 PF12 PF15 PF11 */
  GPIO_InitStruct.Pin = GPIO_PIN_2|GPIO_PIN_1|GPIO_PIN_0|GPIO_PIN_13
                          |GPIO_PIN_14|GPIO_PIN_12|GPIO_PIN_15|GPIO_PIN_11;
  GPIO_InitStruct.Mode = GPIO_MODE_ANALOG;
  GPIO_InitStruct.Pull = GPIO_NOPULL;
  HAL_GPIO_Init(GPIOF, &GPIO_InitStruct);

  /*Configure GPIO pin : mtr_nSLEEP_Pin */
  GPIO_InitStruct.Pin = mtr_nSLEEP_Pin;
  GPIO_InitStruct.Mode = GPIO_MODE_OUTPUT_PP;
  GPIO_InitStruct.Pull = GPIO_NOPULL;
  GPIO_InitStruct.Speed = GPIO_SPEED_FREQ_LOW;
  HAL_GPIO_Init(mtr_nSLEEP_GPIO_Port, &GPIO_InitStruct);

  /*Configure GPIO pin : Eth_nRST_Pin */
  GPIO_InitStruct.Pin = Eth_nRST_Pin;
  GPIO_InitStruct.Mode = GPIO_MODE_OUTPUT_PP;
  GPIO_InitStruct.Pull = GPIO_NOPULL;
  GPIO_InitStruct.Speed = GPIO_SPEED_FREQ_LOW;
  HAL_GPIO_Init(Eth_nRST_GPIO_Port, &GPIO_InitStruct);

  /*Configure GPIO pin : Eth_LINK_ST_Pin */
  GPIO_InitStruct.Pin = Eth_LINK_ST_Pin;
  GPIO_InitStruct.Mode = GPIO_MODE_INPUT;
  GPIO_InitStruct.Pull = GPIO_NOPULL;
  HAL_GPIO_Init(Eth_LINK_ST_GPIO_Port, &GPIO_InitStruct);

  /* USER CODE BEGIN MX_GPIO_Init_2 */
  HAL_GPIO_WritePin(Eth_nRST_GPIO_Port, Eth_nRST_Pin, GPIO_PIN_SET);
  HAL_Delay(50);
  /* USER CODE END MX_GPIO_Init_2 */
}

 /* MPU Configuration */

void MPU_Config(void)
{
  MPU_Region_InitTypeDef MPU_InitStruct = {0};

  /* Disables the MPU */
  HAL_MPU_Disable();

  /** Initializes and configures the Region and the memory to be protected
  */
  MPU_InitStruct.Enable = MPU_REGION_ENABLE;
  MPU_InitStruct.Number = MPU_REGION_NUMBER0;
  MPU_InitStruct.BaseAddress = 0x0;
  MPU_InitStruct.Size = MPU_REGION_SIZE_4GB;
  MPU_InitStruct.SubRegionDisable = 0x87;
  MPU_InitStruct.TypeExtField = MPU_TEX_LEVEL0;
  MPU_InitStruct.AccessPermission = MPU_REGION_NO_ACCESS;
  MPU_InitStruct.DisableExec = MPU_INSTRUCTION_ACCESS_DISABLE;
  MPU_InitStruct.IsShareable = MPU_ACCESS_SHAREABLE;
  MPU_InitStruct.IsCacheable = MPU_ACCESS_NOT_CACHEABLE;
  MPU_InitStruct.IsBufferable = MPU_ACCESS_NOT_BUFFERABLE;

  HAL_MPU_ConfigRegion(&MPU_InitStruct);

  /** Initializes and configures the Region and the memory to be protected
  */
  MPU_InitStruct.Number = MPU_REGION_NUMBER1;
  MPU_InitStruct.BaseAddress = 0x30000000;
  MPU_InitStruct.Size = MPU_REGION_SIZE_128KB;
  MPU_InitStruct.SubRegionDisable = 0x0;
  MPU_InitStruct.TypeExtField = MPU_TEX_LEVEL1;
  MPU_InitStruct.AccessPermission = MPU_REGION_FULL_ACCESS;

  HAL_MPU_ConfigRegion(&MPU_InitStruct);
  /* Enables the MPU */
  HAL_MPU_Enable(MPU_PRIVILEGED_DEFAULT);

}

void Error_Handler(void)
{
  __disable_irq();
  while (1)
  {
  }
}
